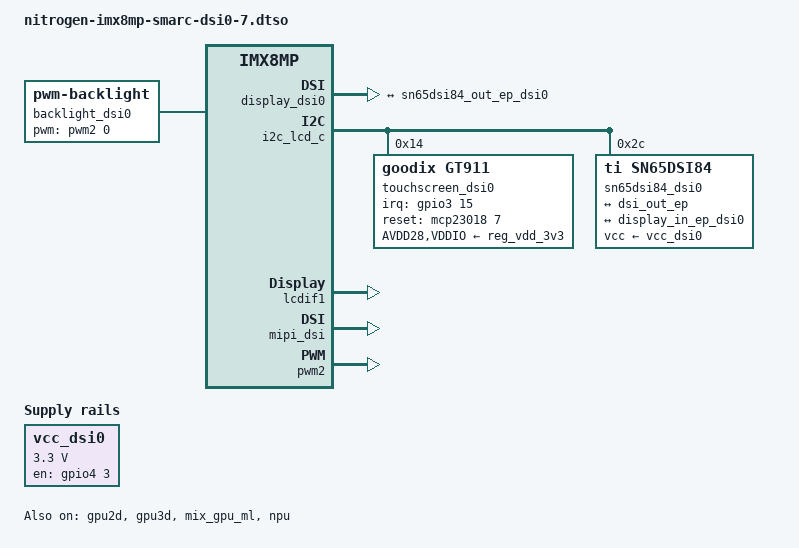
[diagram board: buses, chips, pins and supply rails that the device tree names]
// SPDX-License-Identifier: (GPL-2.0-or-later OR MIT)
/*
 * Copyright 2026 Ezurio LLC
 */

/dts-v1/;
/plugin/;

#include <dt-bindings/gpio/gpio.h>
#include <dt-bindings/interrupt-controller/irq.h>

#include "imx8mp-pinfunc.h"

#include "nitrogen-imx8mp-bd-panel.dtsi"

&{/} {
	backlight_dsi0: backlight-dsi0 {
		brightness-levels = <0 1 2 3 4 5 6 7 8 9 10>;
		compatible = "pwm-backlight";
		default-brightness-level = <8>;

		pwms = <&pwm2 0 30000 0>;	/* 33.3 KHz */
	};

	display_dsi0: display-dsi0 {
		compatible = "panel-lvds";
		data-mapping = "vesa-24";

		backlight = <&backlight_dsi0>;

		width-mm = <150>;
		height-mm = <94>;

		panel-timing {
			BD_PANEL_TIMING
		};

		port {
			display_in_ep_dsi0: endpoint {
				remote-endpoint = <&sn65dsi84_out_ep_dsi0>;
			};
		};
	};

	vcc_dsi0: regulator-vcc-dsi0 {
		compatible = "regulator-fixed";
		regulator-name = "vcc_dsi0";
		regulator-min-microvolt = <3300000>;
		regulator-max-microvolt = <3300000>;

		pinctrl-names = "default";
		pinctrl-0 = <&pinctrl_vcc_dsi0>;
		gpios = <&gpio4 3 GPIO_ACTIVE_HIGH>;
		enable-active-high;
	};
};

&i2c_lcd_c {
	#address-cells = <1>;
	#size-cells = <0>;

	touchscreen_dsi0: touchscreen-dsi0@5d {
		compatible = "goodix,gt911";
		reg = <0x14>;

		AVDD28-supply = <&reg_vdd_3v3>;
		VDDIO-supply = <&reg_vdd_3v3>;

		pinctrl-names = "default";
		pinctrl-0 = <&pinctrl_touchscreen_dsi0>;
		interrupts-extended = <&gpio3 15 IRQ_TYPE_EDGE_FALLING>;
		interrupt-names = "irq";
		irq-gpios = <&gpio3 15 GPIO_ACTIVE_HIGH>;
		reset-gpios = <&mcp23018 7 GPIO_ACTIVE_HIGH>;

		touchscreen-min-x = <0>;
		touchscreen-min-y = <0>;
		touchscreen-size-x = <1280>;
		touchscreen-size-y = <800>;
	};

	sn65dsi84_dsi0: sn65dsi84-dsi0@2c {
		compatible = "ti,sn65dsi84";
		reg = <0x2c>;

		//pinctrl-names = "default";
		//pinctrl-0 = <&pinctrl_sn65dsi84_irq>;
		//interrupts-extended = <&gpio1 6 IRQ_TYPE_LEVEL_LOW>;
		//interrupt-names = "irq";

		vcc-supply = <&vcc_dsi0>;

		ports {
			#address-cells = <1>;
			#size-cells = <0>;

			port@0 {
				reg = <0>;

				sn65dsi84_in_ep_dsi0: endpoint {
					remote-endpoint = <&dsi_out_ep>;
					clock-lanes = <0>;
					data-lanes = <1 2 3 4>;
				};
			};

			port@2 {
				reg = <2>;

				sn65dsi84_out_ep_dsi0: endpoint {
					remote-endpoint = <&display_in_ep_dsi0>;
				};
			};
		};
	};
};

&iomuxc {
	pinctrl_vcc_dsi0: vcc-dsi0grp {
		fsl,pins = <
			MX8MP_IOMUXC_SAI1_RXD1__GPIO4_IO03	0x100
		>;
	};

	pinctrl_touchscreen_dsi0: touchscreen-dsi0grp {
		fsl,pins = <
			MX8MP_IOMUXC_NAND_RE_B__GPIO3_IO15	0x1c0
		>;
	};

	pinctrl_sn65dsi84_irq: sn65dsi84-irqgrp {
		fsl,pins = <
			MX8MP_IOMUXC_GPIO1_IO06__GPIO1_IO06	0x1c0
		>;
	};
};

&{/display-subsystem} {
	status = "okay";
};

&lcdif1 {
	status = "okay";
};

&media_blk_ctrl {
	/* currently it is not possible to let display clocks configure
	 * automatically, so we need to set them manually
	 */
	assigned-clock-rates = <500000000>, <200000000>,
		/* IMX8MP_CLK_MEDIA_DISP1_PIX - pixel clock = autoselect */
		<0>,
		/* IMX8MP_CLK_MEDIA_DISP2_PIX - pixel clock = autoselect */
		<0>,
		/* IMX8MP_VIDEO_PLL1 = pixel clk * 7, so DISP1_PIX divider
		 * lands exactly on the requested pixel clock
		 */
		<504000000>;
};

&mipi_dsi {
	status = "okay";
};

&dsi_out_ep {
	remote-endpoint = <&sn65dsi84_in_ep_dsi0>;
	attach-bridge;
};

&pwm2 {
	status = "okay";
};

&gpu2d {
	status = "okay";
};

&gpu3d {
	status = "okay";
};

&mix_gpu_ml {
	status = "okay";
};

&npu {
	status = "okay";
};
